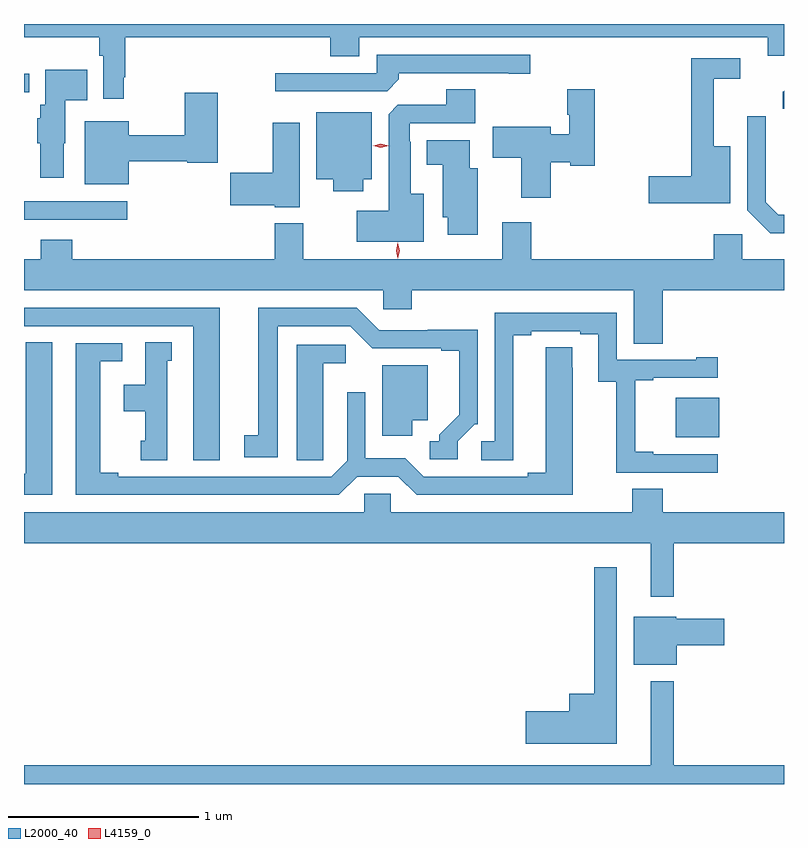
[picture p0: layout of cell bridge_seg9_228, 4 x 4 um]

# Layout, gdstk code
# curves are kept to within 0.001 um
import gdstk
lib = gdstk.Library(unit=1e-6, precision=1e-09)
def R(c, l, rs):  # rectangles x0, y0, x1, y1
    for r in rs: c.add(gdstk.rectangle(r[:2], r[2:], *l))
def P(c, l, *ps):  # polygons
    for p in ps: c.add(gdstk.Polygon(p, *l))
L2000_40 = (2000, 40)
L4159_0 = (4159, 0)

bridge_seg9_228 = lib.new_cell('bridge_seg9_228')
R(bridge_seg9_228, L2000_40, [(146.387,1216.958,146.614,1217.167), (142.956,1218.105,143.5,1218.201), (142.956,1218.774,142.984,1218.872)])
P(bridge_seg9_228, L2000_40, [(143.482,1218.853),(143.489,1218.853),(143.489,1219.064),(144.569,1219.064),(144.569,1218.965),(144.721,1218.965),(144.721,1219.064),(146.87,1219.064),(146.87,1218.966),(146.956,1218.966),(146.956,1219.134),(142.956,1219.134),(142.956,1219.064),(143.353,1219.064),(143.353,1218.968),(143.373,1218.968),(143.373,1218.741),(143.482,1218.741)],
  [(144.929,1218.842),(144.929,1218.876),(145.508,1218.876),(145.508,1218.871),(145.621,1218.871),(145.621,1218.972),(144.813,1218.972),(144.813,1218.876),(144.279,1218.876),(144.279,1218.78),(144.867,1218.78)],
  [(146.674,1218.49),(146.585,1218.49),(146.585,1218.846),(146.725,1218.846),(146.725,1218.954),(146.467,1218.954),(146.467,1218.332),(146.244,1218.332),(146.244,1218.19),(146.674,1218.19)],
  [(143.164,1218.507),(143.173,1218.507),(143.173,1218.734),(143.288,1218.734),(143.288,1218.892),(143.069,1218.892),(143.069,1218.708),(143.042,1218.708),(143.042,1218.639),(143.027,1218.639),(143.027,1218.507),(143.042,1218.507),(143.042,1218.324),(143.164,1218.324)],
  [(145.06,1218.241),(144.991,1218.241),(144.991,1218.515),(144.987,1218.515),(144.987,1218.612),(145.331,1218.612),(145.331,1218.791),(145.178,1218.791),(145.178,1218.708),(144.924,1218.708),(144.875,1218.659),(144.875,1218.151),(144.708,1218.151),(144.708,1217.987),(145.06,1217.987)],
  [(145.729,1218.407),(145.83,1218.407),(145.83,1218.389),(145.961,1218.389),(145.961,1218.79),(145.814,1218.79),(145.814,1218.657),(145.826,1218.657),(145.826,1218.554),(145.729,1218.554),(145.729,1218.592),(145.422,1218.592),(145.422,1218.43),(145.574,1218.43),(145.574,1218.219),(145.729,1218.219)],
  [(146.956,1218.784),(146.949,1218.777),(146.949,1218.689),(146.956,1218.689)],
  [(143.506,1218.412),(143.814,1218.412),(143.814,1218.404),(143.976,1218.404),(143.976,1218.772),(143.803,1218.772),(143.803,1218.548),(143.506,1218.548),(143.506,1218.622),(143.276,1218.622),(143.276,1218.29),(143.506,1218.29)],
  [(144.742,1218.317),(144.787,1218.317),(144.787,1218.67),(144.494,1218.67),(144.494,1218.317),(144.584,1218.317),(144.584,1218.254),(144.742,1218.254)],
  [(146.956,1218.129),(146.925,1218.129),(146.859,1218.195),(146.859,1218.649),(146.763,1218.649),(146.763,1218.153),(146.884,1218.032),(146.956,1218.032)],
  [(144.406,1218.613),(144.265,1218.613),(144.265,1218.35),(144.042,1218.35),(144.042,1218.179),(144.276,1218.179),(144.276,1218.17),(144.406,1218.17)],
  [(145.345,1218.376),(145.303,1218.376),(145.303,1218.523),(145.076,1218.523),(145.076,1218.392),(145.16,1218.392),(145.16,1218.117),(145.187,1218.117),(145.187,1218.024),(145.345,1218.024)],
  [(146.318,1217.732),(146.956,1217.732),(146.956,1217.896),(146.736,1217.896),(146.736,1218.028),(146.585,1218.028),(146.585,1217.896),(145.625,1217.896),(145.625,1218.091),(145.472,1218.091),(145.472,1217.896),(144.427,1217.896),(144.427,1218.085),(144.275,1218.085),(144.275,1217.896),(143.21,1217.896),(143.21,1217.998),(143.045,1217.998),(143.045,1217.896),(142.956,1217.896),(142.956,1217.732),(144.846,1217.732),(144.846,1217.634),(144.998,1217.634),(144.998,1217.732),(146.165,1217.732),(146.165,1217.452),(146.318,1217.452)],
  [(145.239,1216.938),(145.329,1217.028),(145.344,1217.028),(145.344,1217.525),(145.081,1217.525),(145.081,1217.523),(144.825,1217.523),(144.708,1217.64),(144.188,1217.64),(144.188,1216.97),(144.114,1216.97),(144.114,1216.854),(144.292,1216.854),(144.292,1217.544),(144.672,1217.544),(144.789,1217.427),(145.151,1217.427),(145.151,1217.415),(145.247,1217.415),(145.247,1217.078),(145.142,1216.973),(145.142,1216.938),(145.092,1216.938),(145.092,1216.842),(145.239,1216.842)],
  [(143.986,1217.64),(142.956,1217.64),(142.956,1217.544),(143.846,1217.544),(143.846,1216.839),(143.986,1216.839)],
  [(146.608,1216.869),(146.269,1216.869),(146.269,1216.882),(146.174,1216.882),(146.174,1217.259),(146.269,1217.259),(146.269,1217.271),(146.608,1217.271),(146.608,1217.38),(146.495,1217.38),(146.495,1217.367),(146.076,1217.367),(146.076,1217.613),(145.434,1217.613),(145.434,1216.938),(145.362,1216.938),(145.362,1216.837),(145.531,1216.837),(145.531,1217.497),(145.627,1217.497),(145.627,1217.517),(145.883,1217.517),(145.883,1217.502),(145.979,1217.502),(145.979,1217.251),(146.074,1217.251),(146.074,1216.773),(146.608,1216.773)],
  [(143.71,1217.361),(143.734,1217.361),(143.734,1217.459),(143.594,1217.459),(143.594,1217.236),(143.48,1217.236),(143.48,1217.096),(143.594,1217.096),(143.594,1216.941),(143.57,1216.941),(143.57,1216.839),(143.71,1216.839)],
  [(143.104,1217.459),(142.964,1217.459),(142.964,1216.767),(142.956,1216.767),(142.956,1216.656),(143.104,1216.656)],
  [(144.709,1216.752),(144.927,1216.752),(145.023,1216.656),(145.843,1216.656),(145.842,1217.432),(145.703,1217.432),(145.703,1216.772),(145.607,1216.772),(145.607,1216.752),(145.059,1216.752),(144.963,1216.848),(144.753,1216.848),(144.753,1217.197),(144.657,1217.197),(144.657,1216.836),(144.573,1216.752),(143.452,1216.752),(143.452,1216.772),(143.356,1216.772),(143.356,1217.358),(143.473,1217.358),(143.473,1217.454),(143.228,1217.454),(143.228,1216.656),(144.613,1216.656)],
  [(144.531,1216.945),(144.532,1216.945),(144.532,1217.348),(144.649,1217.348),(144.649,1217.445),(144.392,1217.445),(144.392,1216.837),(144.531,1216.837)],
  [(145,1217.048),(145.081,1217.048),(145.081,1217.338),(144.842,1217.338),(144.842,1216.968),(145,1216.968)],
  [(146.377,1216.4),(146.956,1216.4),(146.956,1216.564),(146.318,1216.564),(146.318,1216.688),(146.158,1216.688),(146.158,1216.564),(144.885,1216.564),(144.885,1216.662),(144.747,1216.662),(144.747,1216.564),(142.956,1216.564),(142.956,1216.4),(146.255,1216.4),(146.255,1216.119),(146.377,1216.119)],
  [(146.077,1216.276),(145.956,1216.276),(145.956,1215.61),(145.826,1215.61),(145.826,1215.518),(145.596,1215.518),(145.596,1215.347),(146.077,1215.347)],
  [(146.392,1215.863),(146.641,1215.863),(146.641,1216.005),(146.388,1216.005),(146.388,1216.015),(146.165,1216.015),(146.165,1215.761),(146.392,1215.761)],
  [(146.956,1215.232),(146.377,1215.232),(146.377,1215.676),(146.255,1215.676),(146.255,1215.232),(142.956,1215.232),(142.956,1215.134),(146.956,1215.134)])
P(bridge_seg9_228, L4159_0, [(144.924,1217.9),(144.923,1217.901),(144.914,1217.941),(144.924,1217.982),(144.924,1217.982),(144.924,1217.982),(144.934,1217.941),(144.924,1217.901)],
  [(144.834,1218.484),(144.794,1218.493),(144.794,1218.494),(144.794,1218.494),(144.834,1218.504),(144.875,1218.494),(144.875,1218.494),(144.875,1218.494)])

lib.write_gds('bridge_seg9_228.gds')
